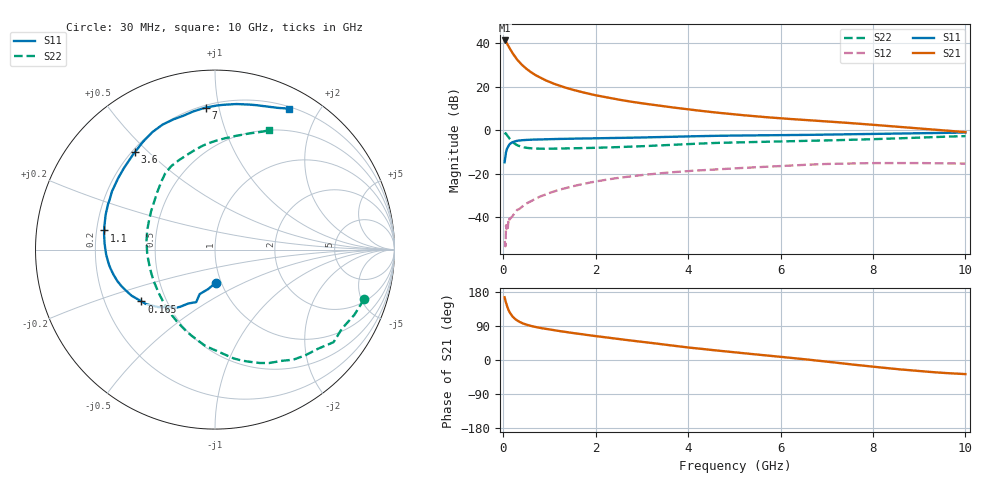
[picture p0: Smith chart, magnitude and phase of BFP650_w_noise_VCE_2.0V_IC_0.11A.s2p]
! Infineon Technologies  Discrete & RF Semiconductors
! BFP650
! VCE =  2.0 V,  IC = 0.11 A
! Common Emitter S-Parameters:  Jan 2016
# GHz  S  MA  R  50
!  f  S11  S21  S12  S22
! GHz  MAG  ANG  MAG  ANG  MAG  ANG  MAG  ANG
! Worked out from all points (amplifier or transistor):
!   229 points, 30 MHz to 10 GHz, reference 50 ohm
!   highest |S21| = 41.1 dB at 30 MHz (marker M1)
!   |S21| within 3 dB of that: start of sweep to 124.3 MHz
!   unconditionally stable (mu >= 1): 1.195 GHz to end of sweep
!   at 280 MHz: K = 0.69, MSG = 35.0 dB, |S12| = -37.1 dB
!   at 1.78 GHz: K = 1.03, MAG = 19.8 dB, |S12| = -24.4 dB
!   at 10 GHz: K = 1.03, MAG = 6.1 dB, |S12| = -15.3 dB
!   lowest NFmin = 1.51 dB at 450 MHz
!   S11 on the Smith chart (normalised r, x): 30 MHz: 0.95, -0.36; 165 MHz: 0.36, -0.28; 1.1 GHz: 0.23, +0.08; 3.6 GHz: 0.21, +0.46; 7 GHz: 0.21, +0.91; 10 GHz: 0.22, +1.63
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0.03  0.1838 -88.1  113.9 165.6  0.0029 83.7  0.8752 -18.5
0.04  0.2234 -99.9  112.6 160.4  0.0026 98.2  0.8573 -25.1
0.05  0.262 -109.0  108.8 155.4  0.0022 50.1  0.8332 -31.9
0.06  0.3108 -109.7  106.7 151.3  0.0065 80.8  0.8381 -38.0
0.08  0.3718 -121.2  98.52 143.0  0.0072 66.2  0.7743 -49.6
0.1  0.4055 -128.4  90.42 136.2  0.0058 51.1  0.7235 -58.9
0.125  0.4573 -136.1  80.43 129.2  0.0084 58.4  0.6651 -70.8
0.165  0.5012 -144.8  68.01 121.4  0.0098 55.2  0.5884 -84.4
0.2  0.531 -151.1  58.83 114.9  0.0107 62.6  0.5396 -95.7
0.26  0.5582 -158.3  47.53 107.9  0.0131 59.2  0.4815 -109.5
0.4  0.5884 -168.5  31.84 97.8  0.0174 61.4  0.4163 -132.0
0.5  0.599 -173.3  25.63 93.3  0.0209 63.2  0.3958 -142.6
0.7  0.611 179.8  18.28 87.0  0.0268 64.3  0.38 -157.6
1.1  0.626 170.2  11.59 78.6  0.0393 62.3  0.3781 -175.8
1.7  0.6442 158.8  7.472 68.1  0.0577 57.4  0.3885 167.6
3.4  0.6947 132.2  3.62 42.0  0.1032 38.5  0.4483 136.6
3.6  0.703 129.4  3.394 39.0  0.1076 36.2  0.4587 133.8
5.1  0.7561 111.7  2.252 19.2  0.1353 20.8  0.5273 116.4
6.8  0.7869 95.8  1.644 -1.6  0.1651 3.4  0.5776 98.1
7  0.7931 93.8  1.593 -4.4  0.1684 1.1  0.584 96.4
8.4  0.8308 76.5  1.231 -22.6  0.177 -14.6  0.6425 80.0
10  0.8868 62.4  0.904 -37.2  0.172 -27.2  0.7317 65.5
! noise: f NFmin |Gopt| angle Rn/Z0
0.45  1.51  0.58  -171  0.06
0.9  1.53  0.59  -164  0.07
1.9  1.69  0.61  -149  0.1
2.4  1.78  0.59  -141  0.14
3.5  1.97  0.6  -118  0.26
